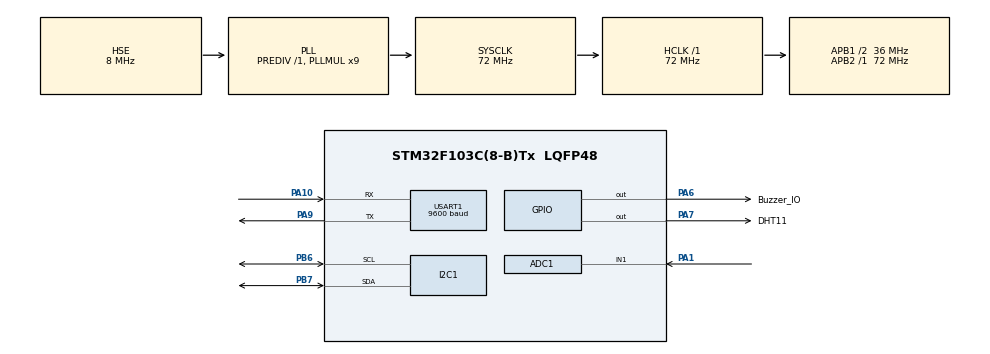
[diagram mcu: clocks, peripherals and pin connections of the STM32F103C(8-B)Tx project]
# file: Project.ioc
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ADC1.Channel-2\#ChannelRegularConversion=ADC_CHANNEL_1
ADC1.ContinuousConvMode=ENABLE
ADC1.NbrOfConversionFlag=1
ADC1.Rank-2\#ChannelRegularConversion=1
ADC1.SamplingTime-2\#ChannelRegularConversion=ADC_SAMPLETIME_1CYCLE_5
ADC1.master=1
Dma.Request0=USART1_RX
Dma.Request1=USART1_TX
Dma.USART1_RX.0.Direction=DMA_PERIPH_TO_MEMORY
Dma.USART1_RX.0.Instance=DMA1_Channel5
Dma.USART1_RX.0.MemDataAlignment=DMA_MDATAALIGN_BYTE
Dma.USART1_RX.0.MemInc=DMA_MINC_ENABLE
Dma.USART1_RX.0.Mode=DMA_NORMAL
Dma.USART1_RX.0.PeriphDataAlignment=DMA_PDATAALIGN_BYTE
Dma.USART1_RX.0.PeriphInc=DMA_PINC_DISABLE
Dma.USART1_RX.0.Priority=DMA_PRIORITY_LOW
Dma.USART1_TX.1.Direction=DMA_MEMORY_TO_PERIPH
Dma.USART1_TX.1.Instance=DMA1_Channel4
Dma.USART1_TX.1.MemDataAlignment=DMA_MDATAALIGN_BYTE
Dma.USART1_TX.1.MemInc=DMA_MINC_ENABLE
Dma.USART1_TX.1.Mode=DMA_NORMAL
Dma.USART1_TX.1.PeriphDataAlignment=DMA_PDATAALIGN_BYTE
Dma.USART1_TX.1.PeriphInc=DMA_PINC_DISABLE
Dma.USART1_TX.1.Priority=DMA_PRIORITY_LOW
Mcu.Family=STM32F1
Mcu.Name=STM32F103C(8-B)Tx
Mcu.Package=LQFP48
NVIC.DMA1_Channel4_IRQn=true\:0\:0\:false\:false\:true\:false\:true\:true
NVIC.DMA1_Channel5_IRQn=true\:0\:0\:false\:false\:true\:false\:true\:true
NVIC.PriorityGroup=NVIC_PRIORITYGROUP_4
PA1.Signal=ADCx_IN1
PA10.Mode=Asynchronous
PA10.Signal=USART1_RX
PA13.Mode=Serial_Wire
PA13.Signal=SYS_JTMS-SWDIO
PA14.Mode=Serial_Wire
PA14.Signal=SYS_JTCK-SWCLK
PA6.GPIO_Label=Buzzer_IO
PA6.GPIO_PuPd=GPIO_PULLDOWN
PA6.GPIO_Speed=GPIO_SPEED_FREQ_HIGH
PA6.Signal=GPIO_Output
PA7.GPIO_Label=DHT11
PA7.GPIO_PuPd=GPIO_PULLUP
PA7.GPIO_Speed=GPIO_SPEED_FREQ_HIGH
PA7.Signal=GPIO_Output
PA9.Mode=Asynchronous
PA9.Signal=USART1_TX
PB6.Mode=I2C
PB6.Signal=I2C1_SCL
PB7.Mode=I2C
PB7.Signal=I2C1_SDA
PC14-OSC32_IN.Mode=LSE-External-Oscillator
PC14-OSC32_IN.Signal=RCC_OSC32_IN
PC15-OSC32_OUT.Mode=LSE-External-Oscillator
PC15-OSC32_OUT.Signal=RCC_OSC32_OUT
PD0-OSC_IN.Mode=HSE-External-Oscillator
PD0-OSC_IN.Signal=RCC_OSC_IN
PD1-OSC_OUT.Mode=HSE-External-Oscillator
PD1-OSC_OUT.Signal=RCC_OSC_OUT
ProjectManager.HeapSize=0x200
ProjectManager.StackSize=0x400
ProjectManager.TargetToolchain=MDK-ARM V5.32
RCC.ADCPresc=RCC_ADCPCLK2_DIV6
RCC.AHBFreq_Value=72000000
RCC.APB1CLKDivider=RCC_HCLK_DIV2
RCC.APB1Freq_Value=36000000
RCC.APB1TimFreq_Value=72000000
RCC.APB2Freq_Value=72000000
RCC.APB2TimFreq_Value=72000000
RCC.HCLKFreq_Value=72000000
RCC.PLLMUL=RCC_PLL_MUL9
RCC.PLLSourceVirtual=RCC_PLLSOURCE_HSE
RCC.SYSCLKFreq_VALUE=72000000
RCC.SYSCLKSource=RCC_SYSCLKSOURCE_PLLCLK
RCC.USBFreq_Value=72000000
SH.ADCx_IN1.0=ADC1_IN1,IN1
TIM1.Prescaler=71
USART1.BaudRate=9600
USART1.VirtualMode=VM_ASYNC
VP_TIM1_VS_ClockSourceINT.Mode=Internal
board=custom

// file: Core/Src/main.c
/* USER CODE BEGIN Header */
/**
 ******************************************************************************
 * @file           : main.c
 * @brief          : Main program body
 ******************************************************************************
 * @attention
 *
 * Copyright (c) 2023 STMicroelectronics.
 * All rights reserved.
 *
 * This software is licensed under terms that can be found in the LICENSE file
 * in the root directory of this software component.
 * If no LICENSE file comes with this software, it is provided AS-IS.
 *
 ******************************************************************************
 */
/* USER CODE END Header */
#include "main.h"
#include "adc.h"
#include "dma.h"
#include "i2c.h"
#include "tim.h"
#include "usart.h"
#include "gpio.h"

/* USER CODE BEGIN Includes */
#include "oled.h"
#include "dht11.h"
#include "mq2.h"
/* USER CODE END Includes */

void SystemClock_Config(void);

int main(void)
{
  /* USER CODE BEGIN 1 */
  uint8_t x = 0;
  uint8_t y = 0;
  uint16_t temperatureValue = 0;
  uint16_t humidityValue = 0;
  uint8_t tempratureValueInteger = 0;
  uint8_t tempratureValueDecimal = 0;
  uint8_t humidityValueInteger = 0;
  uint8_t humidityValueDecimal = 0;
  uint32_t adcValue = 0;
  float smokeDensityValue = 0;
  uint8_t smokeDensityInteger = 0;
  uint8_t smokeDensityDecimal_OneUnit = 0;
  uint8_t smokeDensityDecimal_TenUnit = 0;
  uint8_t temperatureLimitValue = 100;
  uint8_t humidityLimitValue = 30;
  uint8_t smokeLimitValue = 50;
  uint8_t rxBuffer[4] = {0};
  uint8_t tempTenUnit_T = 0;
  uint8_t tempOneUnit_T = 0;
  uint8_t tempTenUnit_H = 0;
  uint8_t tempOneUnit_H = 0;
  uint8_t tempTenUnit_S = 0;
  uint8_t tempOneUnit_S = 0;
  /* USER CODE END 1 */

  /* MCU Configuration--------------------------------------------------------*/

  /* Reset of all peripherals, Initializes the Flash interface and the Systick. */
  HAL_Init();

  /* Configure the system clock */
  SystemClock_Config();

  /* Initialize all configured peripherals */
  MX_GPIO_Init();
  MX_DMA_Init();
  MX_TIM1_Init();
  MX_USART1_UART_Init();
  MX_I2C1_Init();
  MX_ADC1_Init();
  /* USER CODE BEGIN 2 */
  OLED_Init();
  OLED_Clear();
  OLED_ShowChinese(x + 16 + 16 * 0, y + 2 * 0, 0);
  OLED_ShowChinese(x + 16 + 16 * 1, y + 2 * 0, 1);
  OLED_ShowChinese(x + 16 + 16 * 2, y + 2 * 0, 2);
  OLED_ShowChinese(x + 16 + 16 * 3, y + 2 * 0, 3);
  OLED_ShowChinese(x + 16 + 16 * 4, y + 2 * 0, 4);
  OLED_ShowChinese(x + 16 + 16 * 5, y + 2 * 0, 5);
  OLED_ShowChinese(x + 16 * 0, y + 2 * 1, 6);
  OLED_ShowChinese(x + 16 * 1, y + 2 * 1, 7);
  OLED_ShowChinese(x + 16 * 2, y + 2 * 1, 8);
  OLED_ShowChinese(x + 16 * 3, y + 2 * 1, 9);
  OLED_ShowChar(x + 16 * 4 + 8 * 0, y + 2 * 1, ':', 16);
  OLED_ShowChinese(x + 16 * 0, y + 2 * 2, 6);
  OLED_ShowChinese(x + 16 * 1, y + 2 * 2, 7);
  OLED_ShowChinese(x + 16 * 2, y + 2 * 2, 10);
  OLED_ShowChinese(x + 16 * 3, y + 2 * 2, 11);
  OLED_ShowChar(x + 16 * 4 + 8 * 0, y + 2 * 2, ':', 16);
  OLED_ShowChinese(x + 16 * 0, y + 2 * 3, 12);
  OLED_ShowChinese(x + 16 * 1, y + 2 * 3, 13);
  OLED_ShowChinese(x + 16 * 2, y + 2 * 3, 14);
  OLED_ShowChinese(x + 16 * 3, y + 2 * 3, 15);
  OLED_ShowChar(x + 16 * 4 + 8 * 0, y + 2 * 3, ':', 16);
  /* USER CODE END 2 */

  /* Infinite loop */
  /* USER CODE BEGIN WHILE */
  while (1)
  {
    HAL_UART_Receive_DMA(&huart1, rxBuffer, 5);

    HAL_ADC_Start(&hadc1);
    HAL_ADC_PollForConversion(&hadc1, 100);
    adcValue = HAL_ADC_GetValue(&hadc1);
    smokeDensityValue = (float)adcValue / 4095 * 100;

    smokeDensityInteger = (int)smokeDensityValue;
    smokeDensityDecimal_OneUnit = (int)(smokeDensityValue - smokeDensityInteger) * 10;
    smokeDensityDecimal_TenUnit = (int)((smokeDensityValue - smokeDensityInteger) * 10 - smokeDensityDecimal_OneUnit);

    OLED_ShowNum(x + 16 * 4 + 8 * 1, y + 2 * 3, smokeDensityInteger, 3, 16);
		OLED_ShowChar(x + 16 * 4 + 8 * 4, y + 2 * 3, '.', 16);
		OLED_ShowNum(x + 16 * 4 + 8 * 5, y + 2 * 3, smokeDensityDecimal_OneUnit, 1, 16);
		OLED_ShowNum(x + 16 * 4 + 8 * 6, y + 2 * 3, smokeDensityDecimal_TenUnit, 1, 16);

    DHT11_Read_Data(&temperatureValue, &humidityValue);
    tempratureValueInteger = temperatureValue >> 8;
    tempratureValueDecimal = temperatureValue & 0xff;
    humidityValueInteger = humidityValue >> 8;
    humidityValueDecimal = humidityValue & 0xff;

    OLED_ShowNum(x + 16 * 4 + 8 * 1, y + 2 * 1, tempratureValueInteger, 2, 16);
    OLED_ShowNum(x + 16 * 4 + 8 * 4, y + 2 * 1, tempratureValueDecimal, 1, 16);
    OLED_ShowChar(x + 16 * 4 + 8 * 3, y + 2 * 1, '.', 16);
    OLED_ShowChar(x + 16 * 4 + 8 * 5, y + 2 * 1, 'C', 16);
    OLED_ShowNum(x + 16 * 4 + 8 * 1, y + 2 * 2, humidityValueInteger, 2, 16);
    OLED_ShowNum(x + 16 * 4 + 8 * 4, y + 2 * 2, humidityValueDecimal, 1, 16);
    OLED_ShowChar(x + 16 * 4 + 8 * 3, y + 2 * 2, '.', 16);
    OLED_ShowChar(x + 16 * 4 + 8 * 5, y + 2 * 2, '%', 16);

    printf("%d.%1d,%d.%1d,%.2f\n", tempratureValueInteger, tempratureValueDecimal, humidityValueInteger, humidityValueDecimal, smokeDensityValue);

    if (temperatureValue > temperatureLimitValue)
    {
      HAL_GPIO_WritePin(Buzzer_IO_GPIO_Port, Buzzer_IO_Pin, GPIO_PIN_SET);
    }
    else if (humidityValue < humidityLimitValue)
    {
      HAL_GPIO_WritePin(Buzzer_IO_GPIO_Port, Buzzer_IO_Pin, GPIO_PIN_SET);
    }
    else if (smokeDensityValue > smokeLimitValue)
    {
			HAL_GPIO_WritePin(Buzzer_IO_GPIO_Port, Buzzer_IO_Pin, GPIO_PIN_SET);
    }
    else
    {
      HAL_GPIO_WritePin(Buzzer_IO_GPIO_Port, Buzzer_IO_Pin, GPIO_PIN_RESET);
    }

    switch (rxBuffer[0])
    {
    case 'T':
      tempTenUnit_T = rxBuffer[2] - '0';
      tempOneUnit_T = rxBuffer[3] - '0';
      temperatureLimitValue = tempTenUnit_T * 10 + tempOneUnit_T;
      break;
    case 'H':
      tempTenUnit_H = rxBuffer[2] - '0';
      tempOneUnit_H = rxBuffer[3] - '0';
      humidityLimitValue = tempTenUnit_H * 10 + tempOneUnit_H;
      break;
    case 'S':
      tempTenUnit_S = rxBuffer[2] - '0';
      tempOneUnit_S = rxBuffer[3] - '0';
      smokeLimitValue = tempTenUnit_S * 10 + tempOneUnit_S;
      break;
    default:;
      break;
    }

    HAL_Delay(1000);
    /* USER CODE END WHILE */

  }
}

void SystemClock_Config(void)
{
  RCC_OscInitTypeDef RCC_OscInitStruct = {0};
  RCC_ClkInitTypeDef RCC_ClkInitStruct = {0};
  RCC_PeriphCLKInitTypeDef PeriphClkInit = {0};

  /** Initializes the RCC Oscillators according to the specified parameters
   * in the RCC_OscInitTypeDef structure.
   */
  RCC_OscInitStruct.OscillatorType = RCC_OSCILLATORTYPE_HSE;
  RCC_OscInitStruct.HSEState = RCC_HSE_ON;
  RCC_OscInitStruct.HSEPredivValue = RCC_HSE_PREDIV_DIV1;
  RCC_OscInitStruct.HSIState = RCC_HSI_ON;
  RCC_OscInitStruct.PLL.PLLState = RCC_PLL_ON;
  RCC_OscInitStruct.PLL.PLLSource = RCC_PLLSOURCE_HSE;
  RCC_OscInitStruct.PLL.PLLMUL = RCC_PLL_MUL9;
  if (HAL_RCC_OscConfig(&RCC_OscInitStruct) != HAL_OK)
  {
    Error_Handler();
  }

  /** Initializes the CPU, AHB and APB buses clocks
   */
  RCC_ClkInitStruct.ClockType = RCC_CLOCKTYPE_HCLK | RCC_CLOCKTYPE_SYSCLK | RCC_CLOCKTYPE_PCLK1 | RCC_CLOCKTYPE_PCLK2;
  RCC_ClkInitStruct.SYSCLKSource = RCC_SYSCLKSOURCE_PLLCLK;
  RCC_ClkInitStruct.AHBCLKDivider = RCC_SYSCLK_DIV1;
  RCC_ClkInitStruct.APB1CLKDivider = RCC_HCLK_DIV2;
  RCC_ClkInitStruct.APB2CLKDivider = RCC_HCLK_DIV1;

  if (HAL_RCC_ClockConfig(&RCC_ClkInitStruct, FLASH_LATENCY_2) != HAL_OK)
  {
    Error_Handler();
  }
  PeriphClkInit.PeriphClockSelection = RCC_PERIPHCLK_ADC;
  PeriphClkInit.AdcClockSelection = RCC_ADCPCLK2_DIV6;
  if (HAL_RCCEx_PeriphCLKConfig(&PeriphClkInit) != HAL_OK)
  {
    Error_Handler();
  }
}

void Error_Handler(void)
{
  __disable_irq();
  while (1)
  {
  }
}
